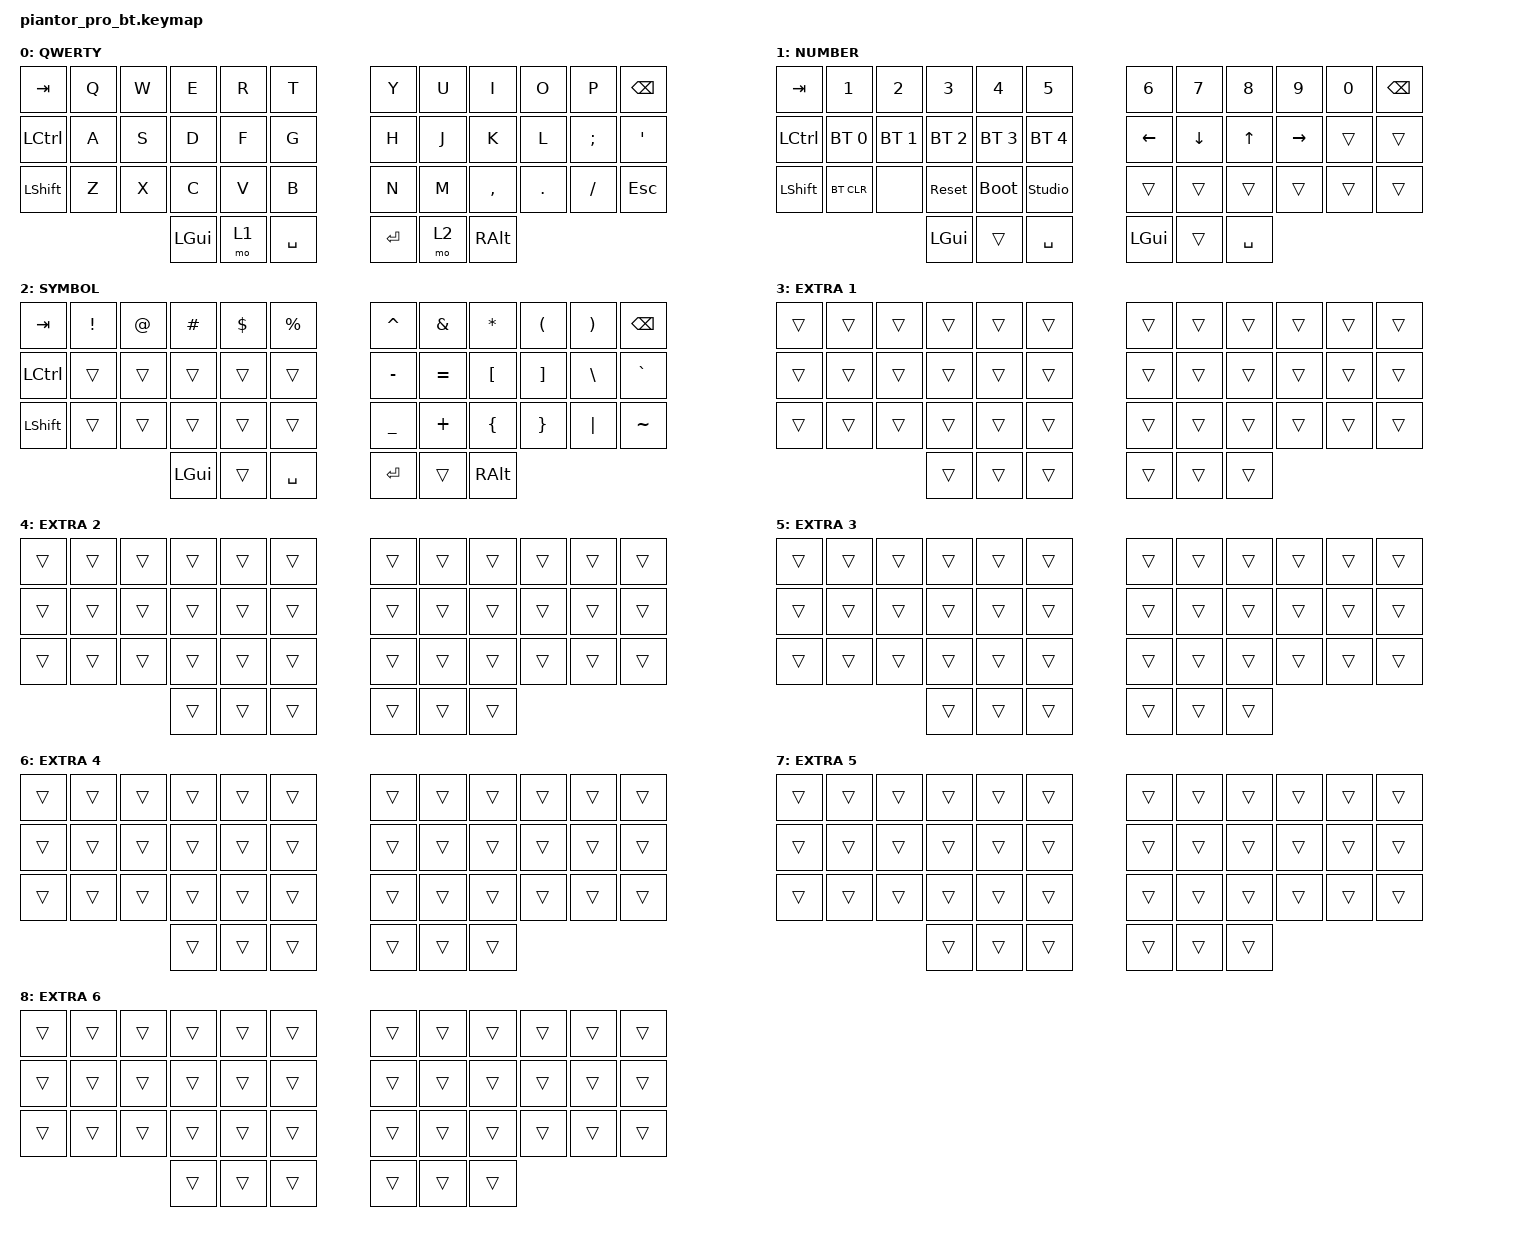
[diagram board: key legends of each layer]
/*
 * Copyright (c) 2020 The ZMK Contributors
 *
 * SPDX-License-Identifier: MIT
 */

#include <behaviors.dtsi>
#include <dt-bindings/zmk/keys.h>
#include <dt-bindings/zmk/bt.h>

&layer_leds {
    // QWERTY off, NUMBER blue, SYMBOL amber, EXTRA 1–6.
    layer-colors = <0x000000 0x00142b 0x2b1500 0x00271d 0x231031
                    0x2d2400 0x062a03 0x2b0921 0x252525>;
};

/ {
    chosen {
        zmk,physical-layout = &default_layout;
    };
};

/ {
    keymap {
        compatible = "zmk,keymap";

        default_layer {
            display-name = "QWERTY";
            // --------------------------------------------------------------------------------
            // |  TAB |  Q  |  W  |  E  |  R  |  T  |  Y  |  U   |  I  |  O  |  P  | BSPC |
            // | CTRL |  A  |  S  |  D  |  F  |  G  |  H  |  J   |  K  |  L  |  ;  |  '   |
            // | SHFT |  Z  |  X  |  C  |  V  |  B  |  N  |  M   |  ,  |  .  |  /  | ESC  |
            //                    | GUI | LWR | SPC | ENT | RSE  | ALT |
            bindings = <
                &kp TAB   &kp Q &kp W &kp E &kp R &kp T &kp Y &kp U  &kp I     &kp O   &kp P    &kp BSPC
                &kp LCTRL &kp A &kp S &kp D &kp F &kp G &kp H &kp J  &kp K     &kp L   &kp SEMI &kp SQT
                &kp LSHFT &kp Z &kp X &kp C &kp V &kp B &kp N &kp M  &kp COMMA &kp DOT &kp FSLH &kp ESC
                               &kp LGUI &mo 1 &kp SPACE &kp RET &mo 2 &kp RALT
            >;
        };

        lower_layer {
            display-name = "NUMBER";
            // -----------------------------------------------------------------------------------------
            // |  TAB |  1  |  2  |  3  |  4  |  5    |  6  |  7  |  8  |  9  |  0  | BSPC |
            // | CTRL | BT1 | BT2 | BT3 | BT4 | BT5   | LFT | DWN |  UP | RGT |     |      |
            // | SHFT | BTCR|     | RST | BOOT| Unlock|     |     |     |     |     |      |
            //                    | GUI |     | SPC   | ENT |     | ALT |
            bindings = <
                &kp TAB   &kp N1       &kp N2          &kp N3       &kp N4       &kp N5         &kp N6   &kp N7   &kp N8 &kp N9    &kp N0 &kp BSPC
                &kp LCTRL &bt BT_SEL 0 &bt BT_SEL 1    &bt BT_SEL 2 &bt BT_SEL 3 &bt BT_SEL 4   &kp LEFT &kp DOWN &kp UP &kp RIGHT &trans &trans
                &kp LSHFT &bt BT_CLR   &none   &sys_reset   &bootloader  &studio_unlock &trans   &trans   &trans &trans    &trans &trans
                                                       &kp LGUI     &trans       &kp SPACE      &kp LGUI &trans   &kp SPACE
            >;
        };

        raise_layer {
            display-name = "SYMBOL";
            // -----------------------------------------------------------------------------------------
            // |  TAB |  !  |  @  |  #  |  $  |  %  |  ^  |  &  |  *  |  (  |  )  | BSPC |
            // | CTRL |     |     |     |     |     |  -  |  =  |  [  |  ]  |  \  |  `   |
            // | SHFT |     |     |     |     |     |  _  |  +  |  {  |  }  | "|" |  ~   |
            //                    | GUI |     | SPC | ENT |     | ALT |
            bindings = <
                &kp  TAB  &kp EXCL &kp AT &kp HASH &kp DLLR &kp PRCNT  &kp CARET &kp AMPS &kp ASTRK &kp LPAR &kp RPAR &kp BSPC
                &kp LCTRL &trans   &trans &trans   &trans   &trans     &kp MINUS &kp EQUAL &kp LBKT &kp RBKT &kp BSLH &kp GRAVE
                &kp LSHFT &trans   &trans &trans   &trans   &trans     &kp UNDER &kp PLUS  &kp LBRC &kp RBRC &kp PIPE &kp TILDE
                                          &kp LGUI &trans   &kp SPACE  &kp RET   &trans    &kp RALT
            >;
        };

        extra_layer_1 {
            display-name = "EXTRA 1";
            bindings = <
                &trans &trans &trans &trans &trans &trans  &trans &trans &trans &trans &trans &trans
                &trans &trans &trans &trans &trans &trans  &trans &trans &trans &trans &trans &trans
                &trans &trans &trans &trans &trans &trans  &trans &trans &trans &trans &trans &trans
                                     &trans &trans &trans  &trans &trans &trans       
            >;
        };

        extra_layer_2 {
            display-name = "EXTRA 2";
            bindings = <
                &trans &trans &trans &trans &trans &trans  &trans &trans &trans &trans &trans &trans
                &trans &trans &trans &trans &trans &trans  &trans &trans &trans &trans &trans &trans
                &trans &trans &trans &trans &trans &trans  &trans &trans &trans &trans &trans &trans
                                     &trans &trans &trans  &trans &trans &trans       
            >;
        };

        extra_layer_3 {
            display-name = "EXTRA 3";
            bindings = <
                &trans &trans &trans &trans &trans &trans  &trans &trans &trans &trans &trans &trans
                &trans &trans &trans &trans &trans &trans  &trans &trans &trans &trans &trans &trans
                &trans &trans &trans &trans &trans &trans  &trans &trans &trans &trans &trans &trans
                                     &trans &trans &trans  &trans &trans &trans       
            >;
        };

        extra_layer_4 {
            display-name = "EXTRA 4";
            bindings = <
                &trans &trans &trans &trans &trans &trans  &trans &trans &trans &trans &trans &trans
                &trans &trans &trans &trans &trans &trans  &trans &trans &trans &trans &trans &trans
                &trans &trans &trans &trans &trans &trans  &trans &trans &trans &trans &trans &trans
                                     &trans &trans &trans  &trans &trans &trans       
            >;
        };

        extra_layer_5 {
            display-name = "EXTRA 5";
            bindings = <
                &trans &trans &trans &trans &trans &trans  &trans &trans &trans &trans &trans &trans
                &trans &trans &trans &trans &trans &trans  &trans &trans &trans &trans &trans &trans
                &trans &trans &trans &trans &trans &trans  &trans &trans &trans &trans &trans &trans
                                     &trans &trans &trans  &trans &trans &trans       
            >;
        };

        extra_layer_6 {
            display-name = "EXTRA 6";
            bindings = <
                &trans &trans &trans &trans &trans &trans  &trans &trans &trans &trans &trans &trans
                &trans &trans &trans &trans &trans &trans  &trans &trans &trans &trans &trans &trans
                &trans &trans &trans &trans &trans &trans  &trans &trans &trans &trans &trans &trans
                                     &trans &trans &trans  &trans &trans &trans       
            >;
        };
    };
};
